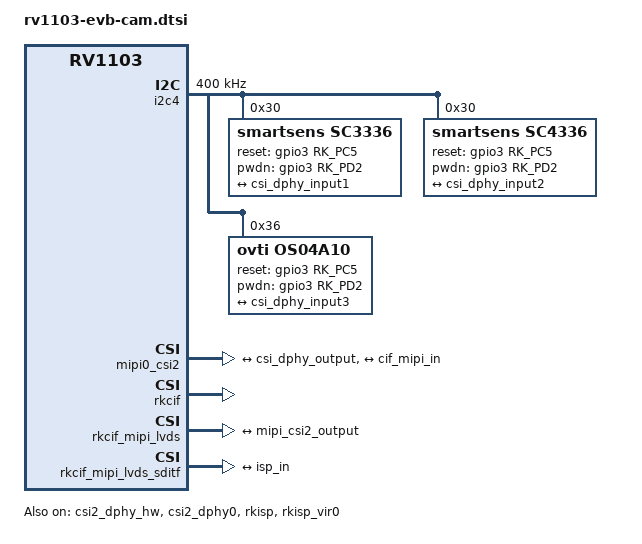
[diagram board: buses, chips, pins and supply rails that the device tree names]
// SPDX-License-Identifier: (GPL-2.0+ OR MIT)
/*
 * Copyright (c) 2022 Rockchip Electronics Co., Ltd.
 *
 */

&csi2_dphy_hw {
	status = "okay";
};

&csi2_dphy0 {
	status = "okay";

	ports {
		#address-cells = <1>;
		#size-cells = <0>;

		port@0 {
			reg = <0>;
			#address-cells = <1>;
			#size-cells = <0>;

			csi_dphy_input1: endpoint@0 {
				reg = <0>;
				remote-endpoint = <&sc3336_out>;
				data-lanes = <1 2>;
			};
			csi_dphy_input2: endpoint@1 {
				reg = <1>;
				remote-endpoint = <&sc4336_out>;
				data-lanes = <1 2>;
			};
			csi_dphy_input3: endpoint@2 {
				reg = <2>;
				remote-endpoint = <&os04a10_out>;
				data-lanes = <1 2>;
			};
		};

		port@1 {
			reg = <1>;
			#address-cells = <1>;
			#size-cells = <0>;

			csi_dphy_output: endpoint@0 {
				reg = <0>;
				remote-endpoint = <&mipi_csi2_input>;
			};
		};
	};
};

&i2c4 {
	status = "okay";
	clock-frequency = <400000>;
	pinctrl-names = "default";
	pinctrl-0 = <&i2c4m2_xfer>;

	sc3336: sc3336@30 {
		compatible = "smartsens,sc3336";
		status = "okay";
		reg = <0x30>;
		clocks = <&cru MCLK_REF_MIPI0>;
		clock-names = "xvclk";
		reset-gpios = <&gpio3 RK_PC5 GPIO_ACTIVE_HIGH>;
		pwdn-gpios = <&gpio3 RK_PD2 GPIO_ACTIVE_HIGH>;
		pinctrl-names = "default";
		pinctrl-0 = <&mipi_refclk_out0>;
		rockchip,camera-module-index = <0>;
		rockchip,camera-module-facing = "back";
		rockchip,camera-module-name = "CMK-OT2119-PC1";
		rockchip,camera-module-lens-name = "30IRC-F16";
		port {
			sc3336_out: endpoint {
				remote-endpoint = <&csi_dphy_input1>;
				data-lanes = <1 2>;
			};
		};
	};

	sc4336: sc4336@30 {
		compatible = "smartsens,sc4336";
		status = "okay";
		reg = <0x30>;
		clocks = <&cru MCLK_REF_MIPI0>;
		clock-names = "xvclk";
		reset-gpios = <&gpio3 RK_PC5 GPIO_ACTIVE_HIGH>;
		pwdn-gpios = <&gpio3 RK_PD2 GPIO_ACTIVE_HIGH>;
		pinctrl-names = "default";
		pinctrl-0 = <&mipi_refclk_out0>;
		rockchip,camera-module-index = <0>;
		rockchip,camera-module-facing = "back";
		rockchip,camera-module-name = "OT01";
		rockchip,camera-module-lens-name = "40IRC_F16";
		port {
			sc4336_out: endpoint {
				remote-endpoint = <&csi_dphy_input2>;
				data-lanes = <1 2>;
			};
		};
	};

	os04a10: os04a10@36 {
		compatible = "ovti,os04a10";
		status = "okay";
		reg = <0x36>;
		clocks = <&cru MCLK_REF_MIPI0>;
		clock-names = "xvclk";
		reset-gpios = <&gpio3 RK_PC5 GPIO_ACTIVE_HIGH>;
		pwdn-gpios = <&gpio3 RK_PD2 GPIO_ACTIVE_HIGH>;
		pinctrl-names = "default";
		pinctrl-0 = <&mipi_refclk_out0>;
		rockchip,camera-module-index = <0>;
		rockchip,camera-module-facing = "back";
		rockchip,camera-module-name = "408b170b9d8a";
		rockchip,camera-module-lens-name = "40IRC-F10";
		port {
			os04a10_out: endpoint {
				remote-endpoint = <&csi_dphy_input3>;
				data-lanes = <1 2>;
			};
		};
	};
};

&mipi0_csi2 {
	status = "okay";

	ports {
		#address-cells = <1>;
		#size-cells = <0>;

		port@0 {
			reg = <0>;
			#address-cells = <1>;
			#size-cells = <0>;

			mipi_csi2_input: endpoint@1 {
				reg = <1>;
				remote-endpoint = <&csi_dphy_output>;
			};
		};

		port@1 {
			reg = <1>;
			#address-cells = <1>;
			#size-cells = <0>;

			mipi_csi2_output: endpoint@0 {
				reg = <0>;
				remote-endpoint = <&cif_mipi_in>;
			};
		};
	};
};

&rkcif {
	status = "okay";
};

&rkcif_mipi_lvds {
	status = "okay";

	pinctrl-names = "default";
	pinctrl-0 = <&mipi_pins>;
	port {
		/* MIPI CSI-2 endpoint */
		cif_mipi_in: endpoint {
			remote-endpoint = <&mipi_csi2_output>;
		};
	};
};

&rkcif_mipi_lvds_sditf {
	status = "okay";

	port {
		/* MIPI CSI-2 endpoint */
		mipi_lvds_sditf: endpoint {
			remote-endpoint = <&isp_in>;
		};
	};
};

&rkisp {
	status = "okay";
};

&rkisp_vir0 {
	status = "okay";

	port@0 {
		isp_in: endpoint {
			remote-endpoint = <&mipi_lvds_sditf>;
		};
	};
};

